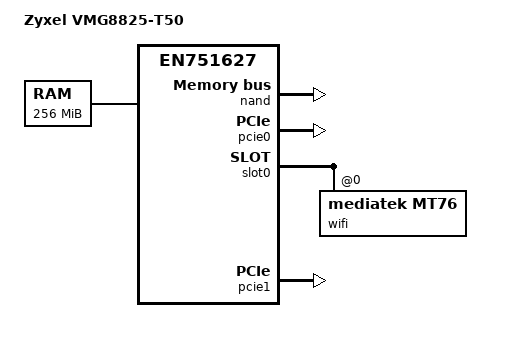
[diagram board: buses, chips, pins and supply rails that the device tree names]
// SPDX-License-Identifier: (GPL-2.0-only OR BSD-2-Clause)
/dts-v1/;

#include "en751627.dtsi"

/ {
	model = "Zyxel VMG8825-T50";
	compatible = "zyxel,vmg8825-t50", "econet,en751627";

	memory@0 {
		device_type = "memory";
		/*
		 * OEM bootlog: DRAM size=512MB, but vendor kernel only saw
		 * ~432MB (rest reserved). Start conservative at 256MB like the
		 * EX3301-T0 reference; bump to 0x1c000000 (448MB) or 0x20000000
		 * (512MB) ONLY after confirming what your zloader/kernel maps.
		 */
		reg = <0x00000000 0x10000000>;
	};

	chosen {
		stdout-path = "/serial@1fbf0000:115200";
	};
};

&nand {
	status = "okay";
	econet,bmt;

	/*
	 * Winbond W25M02GV = 2Gb / 256MiB SPI NAND (SLC).
	 *
	 * !!! VERIFY BEFORE FLASHING !!!
	 * The layout below is DERIVED from the OEM mtdparts string on the
	 * OpenWrt wiki:
	 *   0[bootloader],0[romfile],56M[tclinux],-[tclinux_slave],
	 *   1M[wwan],4M[data],1M[rom-d],118M[misc]
	 * ...but the exact byte offsets are NOT yet confirmed on real hardware.
	 * Get a root shell (ThomasRinsma/vmg8825scripts), then run:
	 *   cat /proc/mtd
	 *   dmesg | grep -i -E 'mtd|partition|nand'
	 * and replace every reg=<> below with the real offsets/sizes.
	 */
	partitions {
		compatible = "fixed-partitions";
		#address-cells = <1>;
		#size-cells = <1>;

		partition@0all {
			label = "all_of_flash";
			reg = <0x0 0x10000000>;	/* full 256MiB */
			read-only;
		};

		partition@0 {
			label = "bootloader";
			reg = <0x0 0x40000>;
			read-only;
		};

		partition@40000 {
			label = "romfile";
			reg = <0x40000 0x40000>;
			read-only;
		};

		partition@80000 {
			label = "tclinux";
			reg = <0x80000 0x3800000>;	/* 56MiB image slot */
			read-only;
			econet,enable-remap;
		};

		/* Nested rootfs inside tclinux (kernel + squashfs) */
		partition@480000 {
			label = "rootfs";
			reg = <0x480000 0x3400000>;
			linux,rootfs;
			read-only;
		};

		partition@3880000 {
			label = "tclinux_slave";
			reg = <0x3880000 0x3800000>;
		};

		partition@7080000 {
			label = "wwan";
			reg = <0x7080000 0x100000>;
		};

		partition@7180000 {
			label = "data";
			reg = <0x7180000 0x400000>;
		};

		partition@7580000 {
			label = "rom-d";
			reg = <0x7580000 0x100000>;
		};

		factory: partition@7680000 {
			label = "factory";
			reg = <0x7680000 0x80000>;
		};

		partition@7700000 {
			label = "misc";
			reg = <0x7700000 0x8900000>;	/* remainder (~137MiB) */
		};
	};
};

/*
 * WiFi: OEM wiki lists MediaTek MT7615 (Wi-Fi 5, dual-band), PCIe-attached
 * (ra0-ra3 / rai0-rai3 in the vendor log). The EN751627 exposes two PCIe
 * links to the same chip, same as the EX3301-T0 reference board.
 * Caldata lives in the "factory" MTD partition (offsets 0x0 / and a second
 * band offset in the OEM image — confirm with the real EEPROM dump).
 */
&pcie0 {
	status = "okay";
};

&slot0 {
	status = "okay";

	wifi@0,0 {
		compatible = "mediatek,mt76";
		reg = <0x0000 0 0 0 0>;
		mediatek,mtd-eeprom = <&factory 0x0000>;
		big-endian;
	};
};

&pcie1 {
	status = "okay";

	/* Second link to the same wifi chip */
};
